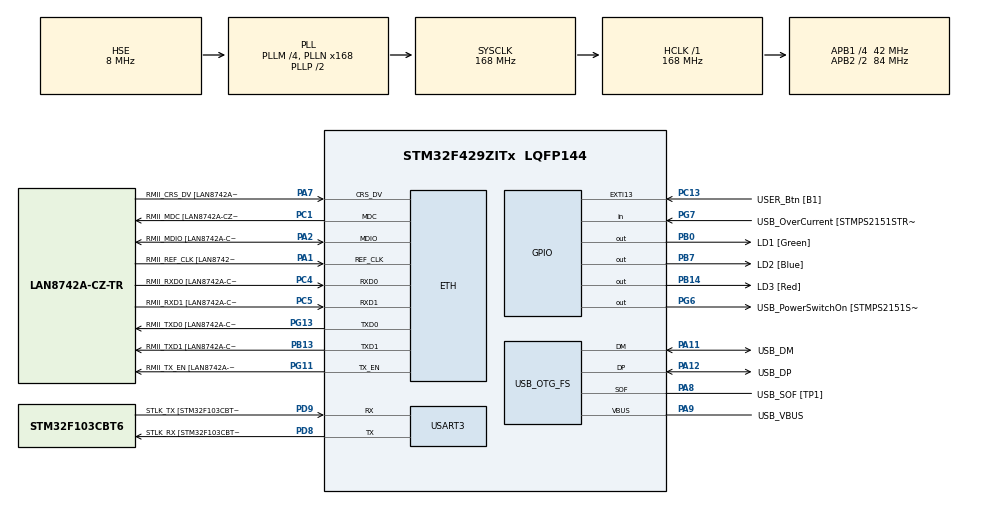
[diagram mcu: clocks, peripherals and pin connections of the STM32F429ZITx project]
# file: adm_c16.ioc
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ETH.MediaInterface=HAL_ETH_RMII_MODE
ETH.PHY_Name=LAN8742A_PHY_ADDRESS
ETH.PHY_Value=0
ETH.PhyAddress=0
Mcu.Family=STM32F4
Mcu.Name=STM32F429ZITx
Mcu.Package=LQFP144
NVIC.PriorityGroup=NVIC_PRIORITYGROUP_4
PA1.GPIO_Label=RMII_REF_CLK [LAN8742A-CZ-TR_REFCLK0]
PA1.Mode=RMII
PA1.Signal=ETH_REF_CLK
PA10.GPIO_Label=USB_ID
PA10.Signal=USB_OTG_FS_ID
PA11.GPIO_Label=USB_DM
PA11.Mode=Device_Only
PA11.Signal=USB_OTG_FS_DM
PA12.GPIO_Label=USB_DP
PA12.Mode=Device_Only
PA12.Signal=USB_OTG_FS_DP
PA13.GPIO_Label=TMS
PA13.Mode=Serial_Wire
PA13.Signal=SYS_JTMS-SWDIO
PA14.GPIO_Label=TCK
PA14.Mode=Serial_Wire
PA14.Signal=SYS_JTCK-SWCLK
PA2.GPIO_Label=RMII_MDIO [LAN8742A-CZ-TR_MDIO]
PA2.Mode=RMII
PA2.Signal=ETH_MDIO
PA7.GPIO_Label=RMII_CRS_DV [LAN8742A-CZ-TR_CRS_DV]
PA7.Mode=RMII
PA7.Signal=ETH_CRS_DV
PA8.GPIO_Label=USB_SOF [TP1]
PA8.Mode=Activate_SOF_FS
PA8.Signal=USB_OTG_FS_SOF
PA9.GPIO_Label=USB_VBUS
PA9.Mode=Activate_VBUS
PA9.Signal=USB_OTG_FS_VBUS
PB0.GPIO_Label=LD1 [Green]
PB0.Signal=GPIO_Output
PB13.GPIO_Label=RMII_TXD1 [LAN8742A-CZ-TR_TXD1]
PB13.Mode=RMII
PB13.Signal=ETH_TXD1
PB14.GPIO_Label=LD3 [Red]
PB14.Signal=GPIO_Output
PB7.GPIO_Label=LD2 [Blue]
PB7.Signal=GPIO_Output
PC1.GPIO_Label=RMII_MDC [LAN8742A-CZ-TR_MDC]
PC1.Mode=RMII
PC1.Signal=ETH_MDC
PC13.GPIO_Label=USER_Btn [B1]
PC13.Signal=GPXTI13
PC14/OSC32_IN.Mode=LSE-External-Oscillator
PC14/OSC32_IN.Signal=RCC_OSC32_IN
PC15/OSC32_OUT.Mode=LSE-External-Oscillator
PC15/OSC32_OUT.Signal=RCC_OSC32_OUT
PC4.GPIO_Label=RMII_RXD0 [LAN8742A-CZ-TR_RXD0]
PC4.Mode=RMII
PC4.Signal=ETH_RXD0
PC5.GPIO_Label=RMII_RXD1 [LAN8742A-CZ-TR_RXD1]
PC5.Mode=RMII
PC5.Signal=ETH_RXD1
PD8.GPIO_Label=STLK_RX [STM32F103CBT6_PA3]
PD8.Mode=Asynchronous
PD8.Signal=USART3_TX
PD9.GPIO_Label=STLK_TX [STM32F103CBT6_PA2]
PD9.Mode=Asynchronous
PD9.Signal=USART3_RX
PG11.GPIO_Label=RMII_TX_EN [LAN8742A-CZ-TR_TXEN]
PG11.Mode=RMII
PG11.Signal=ETH_TX_EN
PG13.GPIO_Label=RMII_TXD0 [LAN8742A-CZ-TR_TXD0]
PG13.Mode=RMII
PG13.Signal=ETH_TXD0
PG6.GPIO_Label=USB_PowerSwitchOn [STMPS2151STR_EN]
PG6.Signal=GPIO_Output
PG7.GPIO_Label=USB_OverCurrent [STMPS2151STR_FAULT]
PG7.Signal=GPIO_Input
PH0/OSC_IN.GPIO_Label=MCO [STM32F103CBT6_PA8]
PH0/OSC_IN.Mode=HSE-External-Clock-Source
PH0/OSC_IN.Signal=RCC_OSC_IN
PH1/OSC_OUT.Mode=HSE-External-Clock-Source
PH1/OSC_OUT.Signal=RCC_OSC_OUT
ProjectManager.HeapSize=0x200
ProjectManager.StackSize=0x400
ProjectManager.TargetToolchain=STM32CubeIDE
RCC.48MHZClocksFreq_Value=48000000
RCC.AHBFreq_Value=168000000
RCC.APB1CLKDivider=RCC_HCLK_DIV4
RCC.APB1Freq_Value=42000000
RCC.APB1TimFreq_Value=84000000
RCC.APB2CLKDivider=RCC_HCLK_DIV2
RCC.APB2Freq_Value=84000000
RCC.APB2TimCLKDivider=2
RCC.APB2TimFreq_Value=168000000
RCC.CortexFreq_Value=168000000
RCC.HCLKFreq_Value=168000000
RCC.HSE_VALUE=8000000
RCC.HSI_VALUE=16000000
RCC.PLLM=4
RCC.PLLMUL=RCC_PLL_MUL9
RCC.PLLN=168
RCC.PLLQ=7
RCC.PRESCALERUSB=RCC_USBCLKSOURCE_PLL_DIV1_5
RCC.SYSCLKFreq_VALUE=168000000
RCC.SYSCLKSource=RCC_SYSCLKSOURCE_PLLCLK
RCC.SYSCLKSourceVirtual=RCC_SYSCLKSOURCE_PLLCLK
RCC.USBFreq_Value=48000000
RCC.VCOOutputFreq_Value=336000000
USART3.VirtualMode=VM_ASYNC
USB_OTG_FS.VirtualMode=Device_Only
board=NUCLEO-F429ZI

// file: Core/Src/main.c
/* USER CODE BEGIN Header */
/**
  ******************************************************************************
  * @file           : main.c
  * @brief          : Main program body
  ******************************************************************************
  * @attention
  *
  * Copyright (c) 2022 STMicroelectronics.
  * All rights reserved.
  *
  * This software is licensed under terms that can be found in the LICENSE file
  * in the root directory of this software component.
  * If no LICENSE file comes with this software, it is provided AS-IS.
  *
  ******************************************************************************
  */
/* USER CODE END Header */
#include "main.h"
#include "string.h"

/* USER CODE BEGIN Includes */
#include "asm_func.h"
/* USER CODE END Includes */

ETH_TxPacketConfig TxConfig;
ETH_DMADescTypeDef  DMARxDscrTab[ETH_RX_DESC_CNT]; /* Ethernet Rx DMA Descriptors */
ETH_DMADescTypeDef  DMATxDscrTab[ETH_TX_DESC_CNT]; /* Ethernet Tx DMA Descriptors */

ETH_HandleTypeDef heth;

UART_HandleTypeDef huart3;

PCD_HandleTypeDef hpcd_USB_OTG_FS;

void SystemClock_Config(void);
static void MX_GPIO_Init(void);
static void MX_ETH_Init(void);
static void MX_USART3_UART_Init(void);
static void MX_USB_OTG_FS_PCD_Init(void);

/* USER CODE BEGIN 0 */
static void PrivilegiosSVC (void)
{
    // Obtiene valor del registro de 32 bits del procesador llamado "control".
    // El registro guarda los siguientes estados:
    // bit 2: Uso de FPU en el contexto actual. Usado=1, no usado=0.
    // bit 1: Mapeo del stack pointer(sp). MSP=0, PSP=1.
    // bit 0: Modo de ejecucion en Thread. Privilegiado=0, No privilegiado=1.
    //        Recordar que este valor solo se usa en modo Thread. Las
    //        interrupciones siempre se ejecutan en modo Handler con total
    //        privilegio.
    uint32_t x = __get_CONTROL ();

    // Actividad de debug: Ver registro "control" y valor de variable "x".
    //__BKPT (0);

    x |= 1;
    // bit 0 a modo No privilegiado.
    __set_CONTROL (x);

    // En este punto se estaria ejecutando en modo No privilegiado.
    // Lectura del registro "control" para confirmar.
    x = __get_CONTROL ();

    // Actividad de debug: Ver registro "control" y valor de variable "x".
    //__BKPT (0);

    x &= ~1u;
    // Se intenta volver a modo Privilegiado (bit 0, valor 0).
    __set_CONTROL (x);

    // Confirma que esta operacion es ignorada por estar ejecutandose en modo
    // Thread no privilegiado.
    x = __get_CONTROL ();

    // Actividad de debug: Ver registro "control" y valor de variable "x".
    //__BKPT (0);

    // En este punto, ejecutando en modo Thread no privilegiado, la unica forma
    // de volver a modo privilegiado o de realizar cualquier cambio que requiera
    // modo privilegiado, es pidiendo ese servicio a un hipotetico sistema
    // opertivo de tiempo real.
    // Para esto se invoca por software a la interrupcion SVC (Supervisor Call)
    // utilizando la instruccion "svc".
    // No hay intrinsics para realizar esta tarea. Para utilizar la instruccion
    // es necesario implementar una funcion en assembler. Ver el archivo
    // asm_func.S.
    asm_svc ();

    // El sistema operativo (el handler de SVC) deberia haber devuelto el modo
    // de ejecucion de Thread a privilegiado (bit 0 en valor 0).
    x = __get_CONTROL ();

    // Fin del ejemplo de SVC
}
/* USER CODE END 0 */

int main(void)
{
  /* USER CODE BEGIN 1 */
  volatile uint32_t Ciclos;
  /* USER CODE END 1 */

  /* MCU Configuration--------------------------------------------------------*/

  /* Reset of all peripherals, Initializes the Flash interface and the Systick. */
  HAL_Init();

  /* USER CODE BEGIN Init */
  // Inicializo contador de ciclos
  DWT->CTRL |= 1 << DWT_CTRL_CYCCNTENA_Pos;

  /* USER CODE END Init */

  /* Configure the system clock */
  SystemClock_Config();

  /* Initialize all configured peripherals */
  MX_GPIO_Init();
  MX_ETH_Init();
  MX_USART3_UART_Init();
  MX_USB_OTG_FS_PCD_Init();
  /* USER CODE BEGIN 2 */
  PrivilegiosSVC ();

  const uint32_t Resultado = asm_sum (5, 3);

  uint32_t array32[11] = {1,2,3,4,5,6,7,8,9,10,11};
  uint32_t array32_2[11] = {1,2,3,4,5,6,7,8,9,10,11};

  asm_zeros(array32, 11);
  asm_productoEscalar32(array32_2, array32, 11, 100);

  uint16_t array16[11] = {0};
  uint16_t array16_2[11] = {1,2,3,4,5,6,7,8,9,10,11};
  asm_productoEscalar16(array16_2, array16, 11, 1000);

  uint16_t array12[11] = {0};
  uint16_t array12_2[11] = {1,2,3,4,5,6,7,8,9,10,11};
  asm_productoEscalar12(array12_2, array12, 11, 1000);

  uint16_t arrayVentanaOut[15] = {0};
  uint16_t arrayVentanaIn[15] = {8,8,8,8,8,8,8,8,8,8,8,8,8,8,8};
  asm_filtroVentana10(arrayVentanaIn, arrayVentanaOut, sizeof(arrayVentanaIn)/sizeof(arrayVentanaIn[0]));

  int16_t arrayPack32to16Out[12] = {0};
  int32_t arrayPack32to16In[12] = {-65541,-65540,-65539,-65538,-65537,-65536,65534,65535,65536,65537,65538,65539};
  asm_pack32to16(arrayPack32to16In, arrayPack32to16Out, sizeof(arrayPack32to16In)/sizeof(arrayPack32to16In[0]));

  int32_t arrayMaxIn[12] = {-10,-2,10,-5,11,2,128,-1256,129,0,2,3};
  uint32_t maxPos = asm_max(arrayMaxIn, sizeof(arrayMaxIn)/sizeof(arrayMaxIn[0]));

  int32_t arraydownsampleMOut[12] = {0};
  int32_t arraydownsampleMIn[12] = {0,1,2,3,4,5,6,7,8,9,10,11};
  asm_downsampleM(arraydownsampleMIn, arraydownsampleMOut, 12, 2);
  memset(arraydownsampleMOut, 0, sizeof(arraydownsampleMOut));
  asm_downsampleM(arraydownsampleMIn, arraydownsampleMOut, 12, 3);
  memset(arraydownsampleMOut, 0, sizeof(arraydownsampleMOut));
  asm_downsampleM(arraydownsampleMIn, arraydownsampleMOut, 12, 4);
  memset(arraydownsampleMOut, 0, sizeof(arraydownsampleMOut));
  asm_downsampleM(arraydownsampleMIn, arraydownsampleMOut, 12, 5);
  memset(arraydownsampleMOut, 0, sizeof(arraydownsampleMOut));
  asm_downsampleM(arraydownsampleMIn, arraydownsampleMOut, 12, 6);
  memset(arraydownsampleMOut, 0, sizeof(arraydownsampleMOut));
  asm_downsampleM(arraydownsampleMIn, arraydownsampleMOut, 12, 7);
  memset(arraydownsampleMOut, 0, sizeof(arraydownsampleMOut));
  asm_downsampleM(arraydownsampleMIn, arraydownsampleMOut, 12, 13);

  uint16_t arrayinvertir1[12] = {0,1,2,3,4,5,6,7,8,9,10,11};
  uint16_t arrayinvertir2[13] = {0,1,2,3,4,5,6,7,8,9,10,11,12};
  asm_invertir(arrayinvertir1, 12);
  asm_invertir(arrayinvertir2, 13);

  int16_t audioSample[4096];
  // Inicializo el vector de audio
  for(int16_t i = 0; i < 4096; i++) {
	  audioSample[i] = i;
  }

  DWT->CYCCNT = 0;
  asm_simd_eco(audioSample, 4096);
  Ciclos = DWT->CYCCNT;

  // Inicializo el vector de audio
  for(int16_t i = 0; i < 4096; i++) {
    audioSample[i] = i;
  }

  DWT->CYCCNT = 0;
  asm_eco(audioSample, 4096);
  Ciclos = DWT->CYCCNT;

  // Inicializo el vector de audio
  for(int16_t i = 0; i < 4096; i++) {
    audioSample[i] = i;
  }

  DWT->CYCCNT = 0;
  eco(audioSample, 4096);
  Ciclos = DWT->CYCCNT;

  // Inicializo el vector de audio
  for(int16_t i = 0; i < 4096; i++) {
    audioSample[i] = i;
  }

  DWT->CYCCNT = 0;
  eco_intrinsic_simd(audioSample, 4096);
  Ciclos = DWT->CYCCNT;

  // Resultados de medicion funcion eco - DEBUG sin optimizacion
  // SIMD 21013 CICLOS
  // ASM 41808 CICLOS
  // C 173676 CICLOS
  // C Intrinsic SIMD 109341 CICLOS

  // Optimizado O2 Release
  // SIMD 20922
  // ASM 41800
  // C 35379
  // C Instrinsics 24136

  /* USER CODE END 2 */

  /* Infinite loop */
  while (1)
  {

  }
}

void SystemClock_Config(void)
{
  RCC_OscInitTypeDef RCC_OscInitStruct = {0};
  RCC_ClkInitTypeDef RCC_ClkInitStruct = {0};

  /** Configure the main internal regulator output voltage
  */
  __HAL_RCC_PWR_CLK_ENABLE();
  __HAL_PWR_VOLTAGESCALING_CONFIG(PWR_REGULATOR_VOLTAGE_SCALE1);

  /** Initializes the RCC Oscillators according to the specified parameters
  * in the RCC_OscInitTypeDef structure.
  */
  RCC_OscInitStruct.OscillatorType = RCC_OSCILLATORTYPE_HSE;
  RCC_OscInitStruct.HSEState = RCC_HSE_BYPASS;
  RCC_OscInitStruct.PLL.PLLState = RCC_PLL_ON;
  RCC_OscInitStruct.PLL.PLLSource = RCC_PLLSOURCE_HSE;
  RCC_OscInitStruct.PLL.PLLM = 4;
  RCC_OscInitStruct.PLL.PLLN = 168;
  RCC_OscInitStruct.PLL.PLLP = RCC_PLLP_DIV2;
  RCC_OscInitStruct.PLL.PLLQ = 7;
  if (HAL_RCC_OscConfig(&RCC_OscInitStruct) != HAL_OK)
  {
    Error_Handler();
  }

  /** Initializes the CPU, AHB and APB buses clocks
  */
  RCC_ClkInitStruct.ClockType = RCC_CLOCKTYPE_HCLK|RCC_CLOCKTYPE_SYSCLK
                              |RCC_CLOCKTYPE_PCLK1|RCC_CLOCKTYPE_PCLK2;
  RCC_ClkInitStruct.SYSCLKSource = RCC_SYSCLKSOURCE_PLLCLK;
  RCC_ClkInitStruct.AHBCLKDivider = RCC_SYSCLK_DIV1;
  RCC_ClkInitStruct.APB1CLKDivider = RCC_HCLK_DIV4;
  RCC_ClkInitStruct.APB2CLKDivider = RCC_HCLK_DIV2;

  if (HAL_RCC_ClockConfig(&RCC_ClkInitStruct, FLASH_LATENCY_5) != HAL_OK)
  {
    Error_Handler();
  }
}

static void MX_ETH_Init(void)
{

   static uint8_t MACAddr[6];

  heth.Instance = ETH;
  MACAddr[0] = 0x00;
  MACAddr[1] = 0x80;
  MACAddr[2] = 0xE1;
  MACAddr[3] = 0x00;
  MACAddr[4] = 0x00;
  MACAddr[5] = 0x00;
  heth.Init.MACAddr = &MACAddr[0];
  heth.Init.MediaInterface = HAL_ETH_RMII_MODE;
  heth.Init.TxDesc = DMATxDscrTab;
  heth.Init.RxDesc = DMARxDscrTab;
  heth.Init.RxBuffLen = 1524;

  if (HAL_ETH_Init(&heth) != HAL_OK)
  {
    Error_Handler();
  }

  memset(&TxConfig, 0 , sizeof(ETH_TxPacketConfig));
  TxConfig.Attributes = ETH_TX_PACKETS_FEATURES_CSUM | ETH_TX_PACKETS_FEATURES_CRCPAD;
  TxConfig.ChecksumCtrl = ETH_CHECKSUM_IPHDR_PAYLOAD_INSERT_PHDR_CALC;
  TxConfig.CRCPadCtrl = ETH_CRC_PAD_INSERT;

}

static void MX_USART3_UART_Init(void)
{

  huart3.Instance = USART3;
  huart3.Init.BaudRate = 115200;
  huart3.Init.WordLength = UART_WORDLENGTH_8B;
  huart3.Init.StopBits = UART_STOPBITS_1;
  huart3.Init.Parity = UART_PARITY_NONE;
  huart3.Init.Mode = UART_MODE_TX_RX;
  huart3.Init.HwFlowCtl = UART_HWCONTROL_NONE;
  huart3.Init.OverSampling = UART_OVERSAMPLING_16;
  if (HAL_UART_Init(&huart3) != HAL_OK)
  {
    Error_Handler();
  }

}

static void MX_USB_OTG_FS_PCD_Init(void)
{

  hpcd_USB_OTG_FS.Instance = USB_OTG_FS;
  hpcd_USB_OTG_FS.Init.dev_endpoints = 4;
  hpcd_USB_OTG_FS.Init.speed = PCD_SPEED_FULL;
  hpcd_USB_OTG_FS.Init.dma_enable = DISABLE;
  hpcd_USB_OTG_FS.Init.phy_itface = PCD_PHY_EMBEDDED;
  hpcd_USB_OTG_FS.Init.Sof_enable = ENABLE;
  hpcd_USB_OTG_FS.Init.low_power_enable = DISABLE;
  hpcd_USB_OTG_FS.Init.lpm_enable = DISABLE;
  hpcd_USB_OTG_FS.Init.vbus_sensing_enable = ENABLE;
  hpcd_USB_OTG_FS.Init.use_dedicated_ep1 = DISABLE;
  if (HAL_PCD_Init(&hpcd_USB_OTG_FS) != HAL_OK)
  {
    Error_Handler();
  }

}

static void MX_GPIO_Init(void)
{
  GPIO_InitTypeDef GPIO_InitStruct = {0};

  /* GPIO Ports Clock Enable */
  __HAL_RCC_GPIOC_CLK_ENABLE();
  __HAL_RCC_GPIOH_CLK_ENABLE();
  __HAL_RCC_GPIOA_CLK_ENABLE();
  __HAL_RCC_GPIOB_CLK_ENABLE();
  __HAL_RCC_GPIOD_CLK_ENABLE();
  __HAL_RCC_GPIOG_CLK_ENABLE();

  /*Configure GPIO pin Output Level */
  HAL_GPIO_WritePin(GPIOB, LD1_Pin|LD3_Pin|LD2_Pin, GPIO_PIN_RESET);

  /*Configure GPIO pin Output Level */
  HAL_GPIO_WritePin(USB_PowerSwitchOn_GPIO_Port, USB_PowerSwitchOn_Pin, GPIO_PIN_RESET);

  /*Configure GPIO pin : USER_Btn_Pin */
  GPIO_InitStruct.Pin = USER_Btn_Pin;
  GPIO_InitStruct.Mode = GPIO_MODE_IT_RISING;
  GPIO_InitStruct.Pull = GPIO_NOPULL;
  HAL_GPIO_Init(USER_Btn_GPIO_Port, &GPIO_InitStruct);

  /*Configure GPIO pins : LD1_Pin LD3_Pin LD2_Pin */
  GPIO_InitStruct.Pin = LD1_Pin|LD3_Pin|LD2_Pin;
  GPIO_InitStruct.Mode = GPIO_MODE_OUTPUT_PP;
  GPIO_InitStruct.Pull = GPIO_NOPULL;
  GPIO_InitStruct.Speed = GPIO_SPEED_FREQ_LOW;
  HAL_GPIO_Init(GPIOB, &GPIO_InitStruct);

  /*Configure GPIO pin : USB_PowerSwitchOn_Pin */
  GPIO_InitStruct.Pin = USB_PowerSwitchOn_Pin;
  GPIO_InitStruct.Mode = GPIO_MODE_OUTPUT_PP;
  GPIO_InitStruct.Pull = GPIO_NOPULL;
  GPIO_InitStruct.Speed = GPIO_SPEED_FREQ_LOW;
  HAL_GPIO_Init(USB_PowerSwitchOn_GPIO_Port, &GPIO_InitStruct);

  /*Configure GPIO pin : USB_OverCurrent_Pin */
  GPIO_InitStruct.Pin = USB_OverCurrent_Pin;
  GPIO_InitStruct.Mode = GPIO_MODE_INPUT;
  GPIO_InitStruct.Pull = GPIO_NOPULL;
  HAL_GPIO_Init(USB_OverCurrent_GPIO_Port, &GPIO_InitStruct);

}

/* USER CODE BEGIN 4 */
/* Ejercicio 1: Realizar una función que inicialice un vector con ceros. La función debe tener el siguiente
prototipo. */
void zeros(uint32_t * vector, uint32_t longitud) {
	for(; longitud > 0; longitud--) {
		vector[longitud] = 0;
	}
}

/* Ejercicio 2: Realizar una función que realice el producto de un vector y un escalar (por ejemplo, podría servir
para cambiar el nivel de amplitud de una señal). */
void productoEscalar32(uint32_t * vectorIn, uint32_t * vectorOut, uint32_t longitud, uint32_t escalar) {
	for(; longitud > 0; longitud--) {
		vectorOut[longitud-1] = vectorIn[longitud-1] * escalar;
	}
}
/* Ejercicio 3: Adapte la función del ejercicio 2 para realizar operaciones sobre vectores de 16 bits. */
void productoEscalar16(uint16_t * vectorIn, uint16_t * vectorOut, uint32_t longitud, uint16_t escalar) {
	for(; longitud > 0; longitud--) {
		vectorOut[longitud-1] = vectorIn[longitud-1] * escalar;
	}
}
/* Ejercicio 4: Adapte la función del ejercicio 3 para saturar el resultado del producto a 12 bits. */
void productoEscalar12(uint16_t * vectorIn, uint16_t * vectorOut, uint32_t longitud, uint16_t escalar) {
	for(; longitud > 0; longitud--) {
		vectorOut[longitud-1] = vectorIn[longitud-1] * escalar;
		if(vectorOut[longitud-1] > 0x0FFF) {
			vectorOut[longitud-1] = 0x0FFF;
		}
	}
}
/* Ejercicio 5: Realice una función que implemente un filtro de ventana móvil de 10 valores sobre un vector de muestras. */
void filtroVentana10(uint16_t * vectorIn, uint16_t * vectorOut, uint32_t longitudVectorIn) {
	uint32_t vectorIterator;
	uint32_t windowsBeginPos;
	uint32_t windowsEndPos;
	uint16_t average;

	vectorIterator = longitudVectorIn;
	while(vectorIterator-- > 0) {
		average = 0;
		windowsEndPos = vectorIterator+6 < longitudVectorIn ? vectorIterator+6 : longitudVectorIn;
		windowsBeginPos = vectorIterator > 4 ? vectorIterator-5 : 0;
		while(windowsEndPos-- > windowsBeginPos) {
			average += vectorIn[windowsEndPos];
		}
		vectorOut[vectorIterator] = average / 11;
	}
}
/* Ejercicio 6: Realizar una función que reciba un vector de números signados de 32 bits y los “empaquete” en otro vector de 16 bits. La función deberá adecuar los valores de entrada a la nueva precisión. */
void pack32to16(int32_t * vectorIn, int16_t *vectorOut, uint32_t longitud) {
	while(longitud-- > 0) {
		vectorOut[longitud] = vectorIn[longitud] >> 16;
	}
}
/* Ejercicio 7: Realizar una función que reciba un vector de números signados de 32 bits y devuelva la posición del máximo del vector. */
int32_t max(int32_t * vectorIn, uint32_t longitud) {
	int32_t max, pos;
	longitud--;
	max = vectorIn[longitud];
	pos = longitud;
	while(longitud-- > 0) {
		if(vectorIn[longitud] > max) {
			max = vectorIn[longitud];
			pos = longitud;
		}
	}
	return pos;
}

/* Ejercicio 8: Realizar una función que reciba un vector de muestras signadas de 32 bits y lo decime descartando una cada N muestras. */
void downsampleM(int32_t * vectorIn, int32_t * vectorOut, uint32_t longitud, uint32_t N) {
	uint32_t i = 0,j = 0;

	while(i < longitud) {
		if(i%N == N-1) { // En la funcion de assembly se utilizo otra estrategia para no usar el operador modulo.
			vectorOut[j++] = vectorIn[i];
		}
		i++;
	}
}

/* Ejercicio 9: Realizar una función que reciba un vector de muestras no signadas de 16 bits e invierta su orden. */
void invertir(uint16_t * vector, uint32_t longitud) {
	uint16_t swap;
	uint32_t endIndex = longitud / 2;
	uint32_t i = 0;

	while(longitud-- > endIndex) {
		swap = vector[longitud];
		vector[longitud] = vector[i];
		vector[i++] = swap;
	}
}

/* Ejercicio 10: Realizar una función que recibe un vector de 4096 valores de 16 bits (signados),
 * que corresponden a muestras de audio tomadas a una tasa de muestreo de 44.100 muestras/s.
 * La función debe introducir un “eco” de la mitad de la amplitud de la muestra original a los 20ms de comenzada la grabación.
 * Nota: El eco consiste en adicionar a la señal original, la propia señal original dividida por dos y atrasada en 20ms.
*/
#define ECO_DELAY 882
void eco(int16_t * vector, uint32_t longitud) {
	while(longitud-- > 882) { // 882 = 20ms a 44100 muestras/s
		vector[longitud] += vector[longitud-ECO_DELAY]/2;
	}
}

#define ECO_DELAY_HALF 441
void eco_intrinsic_simd(int16_t * vector, uint32_t longitud) {
	longitud = longitud/2;
	uint32_t eco;
	uint32_t * vector_32 = vector;
	while(longitud-- > ECO_DELAY_HALF) { // 441 = 20ms a 44100 muestras/s (tomando de a dos muestras)
		eco = __SHADD16(vector_32[longitud-ECO_DELAY_HALF], 0);
		vector_32[longitud] = __QADD16(vector_32[longitud], eco);
	}
}

/* USER CODE END 4 */

void Error_Handler(void)
{
  __disable_irq();
  while (1)
  {
  }
}
